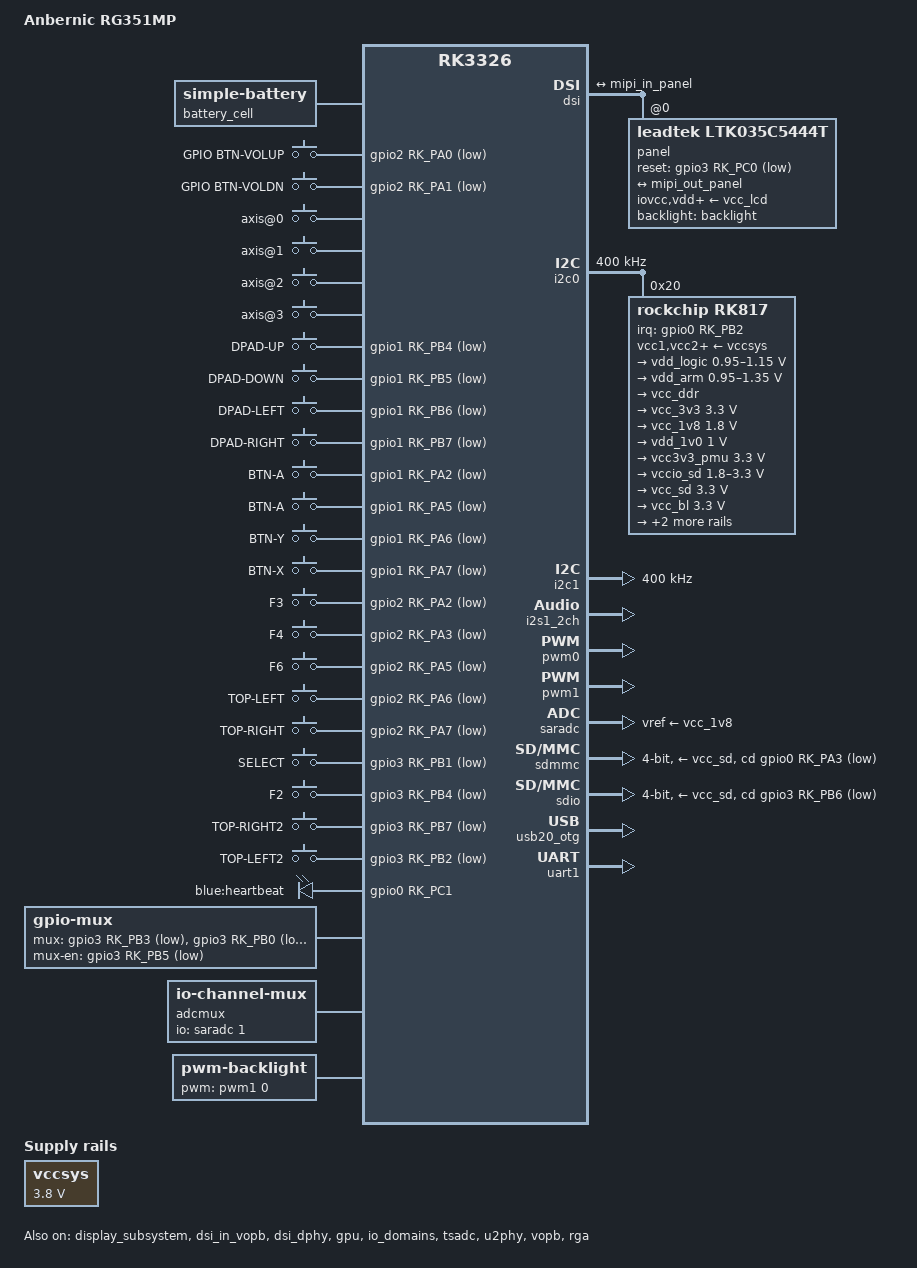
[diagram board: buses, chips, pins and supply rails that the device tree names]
// SPDX-License-Identifier: (GPL-2.0+ OR MIT)
/*
 * Copyright (c) 2020, Hardkernel Co., Ltd
 * Copyright (C) 2021, Romain Tisserand <romain.tisserand@gmail.com>
 * Copyright (C) 2021, Tony Jih <tonyjih@gmail.com>
 */

/dts-v1/;
#include <dt-bindings/gpio/gpio.h>
#include <dt-bindings/input/input.h>
#include <dt-bindings/pinctrl/rockchip.h>
#include "rockchip/rk3326.dtsi"

/ {
	model = "Anbernic RG351MP";
	compatible = "anbernic,rk3326-rg351-mp", "rockchip,rk3326";

	chosen {
                bootargs = "";
	};

	battery_cell: battery-cell {
		compatible = "simple-battery";
		energy-full-design-microamp-hours = <3000000>;
		voltage-min-design-microvolt = <3500000>;
		voltage-max-design-microvolt = <4100000>;

		ocv-capacity-celcius = <20>;
		ocv-capacity-table-0 =  <3500 0>, <3625 5>, <3685 10>, <3697 15>,
					<3718 20>, <3735 25>, <3748 30>, <3760 35>,
					<3774 40>, <3788 45>, <3802 50>, <3816 55>,
					<3834 60>, <3853 65>, <3877 70>, <3908 75>,
					<3946 80>, <3975 85>, <4018 90>, <4071 95>,
					<4106 100>;
	};
	
	utils {
			compatible = "gpio-keys";
			#address-cells = <1>;
			#size-cells = <0>;
			autorepeat;
			button@0 {
				label = "GPIO BTN-VOLUP";
				linux,code = <KEY_VOLUMEUP>;
				gpios = <&gpio2 RK_PA0 GPIO_ACTIVE_LOW>;
			};
			button@1 {
				label = "GPIO BTN-VOLDN";
				linux,code = <KEY_VOLUMEDOWN>;
				gpios = <&gpio2 RK_PA1 GPIO_ACTIVE_LOW>;
			};
	};


	joypad {
		compatible = "gpio-keys-adc";
		joypad-name = "RG351MP Gamepad";
		joypad-product = <0x1100>;
		joypad-revision = <0x0100>;

		pwms = <&pwm0 0 200000000 0>;		 
		pwm-names = "rumble_pwm";
		pinctrl-names = "default";
		pinctrl-0 = <&btn_pins>;
		pinctrl-1 = <&pwm0_pin>;
		io-channels = <&adcmux 0>, <&adcmux 1>, <&adcmux 2>, <&adcmux 3>;

		axis@0 {
			reg = <0>;
			abs-flat = <32>;
			abs-fuzz = <10>;
			abs-range = <800 180>;	//Inverted in RG351MP
			linux,code = <ABS_X>;
			analog;
		};

		axis@1 {
			reg = <1>;
			abs-flat = <32>;
			abs-fuzz = <10>;
			abs-range = <180 800>;
			linux,code = <ABS_RX>;
			analog;
		};

		axis@2 {
			reg = <2>;
			abs-flat = <32>;
			abs-fuss = <10>;
			abs-range = <800 180>;
			linux,code = <ABS_Y>;	//Inverted in RG351MP
			analog;
		};

		axis@3 {
			reg = <3>;
			abs-flat = <32>;
			abs-fuss = <10>;
			abs-range = <180 800>;
			linux,code = <ABS_RY>;
			analog;
		};


        /*
         *              *** RG351MP Switch layout ***              
         * |--|------------------------------------------------|--|
         * |  | L1 L2                                    R2 R1 |  |
         * |  |------------------------------------------------|  |
         * |v+|       select                           start   |pw|
         * |  |     sw1      |-------------------|      sw8    |  |
         * |v-|  sw3   sw4   |                   |   sw7   sw5 |  |
         * |  |     sw2      |    LCD Display    |      sw6    |  |
         * |  |              |                   |             |  |
         * |  |              |-------------------|             |  |
         * |  |  sw9                                     sw10  |  |
         * |  |------------------------------------------------|  |
         * |  |                 SD_INT  SD_EXT                 |  |
         * |--|------------------------------------------------|--|
         */

		sw1 {
			reg = <4>;
			gpios = <&gpio1 RK_PB4 GPIO_ACTIVE_LOW>;
			label = "DPAD-UP";
			linux,code = <BTN_DPAD_UP>; // 0x220
		};
		sw2 {
			reg = <5>;
			gpios = <&gpio1 RK_PB5 GPIO_ACTIVE_LOW>;
			label = "DPAD-DOWN";
			linux,code = <BTN_DPAD_DOWN>; // 0x221
		};
		sw3 {
			reg = <6>;
			gpios = <&gpio1 RK_PB6 GPIO_ACTIVE_LOW>;
			label = "DPAD-LEFT";
			linux,code = <BTN_DPAD_LEFT>; // 0x222
		};
		sw4 {
			reg = <7>;
			gpios = <&gpio1 RK_PB7 GPIO_ACTIVE_LOW>;
			label = "DPAD-RIGHT";
			linux,code = <BTN_DPAD_RIGHT>; // 0x223
		};
		sw5 {
			reg = <8>;
			gpios = <&gpio1 RK_PA2 GPIO_ACTIVE_LOW>;
			label = "BTN-A";
			linux,code = <BTN_EAST>; // 0x131
		};
		sw6 {
			reg = <9>;
			gpios = <&gpio1 RK_PA5 GPIO_ACTIVE_LOW>;
			label = "BTN-A";
			linux,code = <BTN_SOUTH>; // 0x130
		};
		sw7 {
			reg = <10>;
			gpios = <&gpio1 RK_PA6 GPIO_ACTIVE_LOW>;
			label = "BTN-Y";
			linux,code = <BTN_WEST>; // 0x134
		};
		sw8 {
			reg = <11>;
			gpios = <&gpio1 RK_PA7 GPIO_ACTIVE_LOW>;
			label = "BTN-X";
			linux,code = <BTN_NORTH>; // 0x133
		};
		sw9 {
			reg = <12>;
			gpios = <&gpio2 RK_PA2 GPIO_ACTIVE_LOW>;
			label = "F3";
			linux,code = <BTN_THUMBL>; // 0x2c3
		};
		sw10 {
			reg = <13>;
			gpios = <&gpio2 RK_PA3 GPIO_ACTIVE_LOW>;
			label = "F4";
			linux,code = <BTN_THUMBR>; // 0x2c4
		};
		sw11 { // UNUSED
			reg = <14>;
			gpios = <&gpio2 RK_PA5 GPIO_ACTIVE_LOW>;
			label = "F6";
			linux,code = <BTN_TRIGGER_HAPPY6>; // 0x13c
		};
		sw12 {
			reg = <15>;
			gpios = <&gpio2 RK_PA6 GPIO_ACTIVE_LOW>;
			label = "TOP-LEFT";
			linux,code = <BTN_TL>; // 0x02
		};
		sw13 {
			reg = <16>;
			gpios = <&gpio2 RK_PA7 GPIO_ACTIVE_LOW>;
			label = "TOP-RIGHT";
			linux,code = <BTN_TR>; // 0x05
		};
		sw14 {
			reg = <17>;
			gpios = <&gpio3 RK_PB1 GPIO_ACTIVE_LOW>;
			label = "SELECT";
			linux,code = <BTN_SELECT>;
		};
		sw15 {
			reg = <18>;
			gpios = <&gpio3 RK_PB4 GPIO_ACTIVE_LOW>;
			label = "F2";
			linux,code = <BTN_START>;
		};
		sw16 {
			reg = <19>;
			gpios = <&gpio3 RK_PB7 GPIO_ACTIVE_LOW>;
			label = "TOP-RIGHT2";
			linux,code = <BTN_TR2>;
		};
		sw17 {
			reg = <20>;
			gpios = <&gpio3 RK_PB2 GPIO_ACTIVE_LOW>;
			label = "TOP-LEFT2";
			linux,code = <BTN_TL2>;
		};
	};

	fiq-debugger {
		compatible = "rockchip,fiq-debugger";
		rockchip,serial-id = <2>;
		rockchip,wake-irq = <0>;
		/* If enable uart uses irq instead of fiq */
		rockchip,irq-mode-enable = <0>;
		rockchip,baudrate = <115200>;  /* Only 115200 and 1500000 */
		interrupts = <GIC_SPI 127 IRQ_TYPE_LEVEL_LOW>;
		pinctrl-names = "default";
		pinctrl-0 = <&uart2m1_xfer>;
		status = "okay";
	};

	leds: gpio_leds {
		compatible = "gpio-leds";

		pinctrl-names = "led_pins";
		pinctrl-0 = <&led_pins>;

		/* Blue LED : GPIO0_C1 */
		heartbeat {
			label = "blue:heartbeat";
			gpios = <&gpio0 RK_PC1 GPIO_ACTIVE_HIGH>;
			linux,default-trigger = "heartbeat";
		};
	};

	mux: mux-controller {
		status = "okay";
		compatible = "gpio-mux";
		#mux-control-cells = <0>;

		mux-gpios = <&gpio3 RK_PB3 GPIO_ACTIVE_LOW>,
					<&gpio3 RK_PB0 GPIO_ACTIVE_LOW>;
		mux-en-gpio = <&gpio3 RK_PB5 GPIO_ACTIVE_LOW>;
	};

	adcmux: adc-mux {
		status = "okay";
		compatible = "io-channel-mux";
		io-channels = <&saradc 1>;
		io-channel-names = "parent";
		#io-channel-cells = <1>;

		mux-controls = <&mux>;

		channels = "0", "1", "2", "3";
	};

	backlight: backlight {
		compatible = "pwm-backlight";
		pwms = <&pwm1 0 40000 0>;
		brightness-levels = <
			  0   1   2   3   4   5   6   7
			  8   9  10  11  12  13  14  15
			 16  17  18  19  20  21  22  23
			 24  25  26  27  28  29  30  31
			 32  33  34  35  36  37  38  39
			 40  41  42  43  44  45  46  47
			 48  49  50  51  52  53  54  55
			 56  57  58  59  60  61  62  63
			 64  65  66  67  68  69  70  71
			 72  73  74  75  76  77  78  79
			 80  81  82  83  84  85  86  87
			 88  89  90  91  92  93  94  95
			 96  97  98  99 100 101 102 103
			104 105 106 107 108 109 110 111
			112 113 114 115 116 117 118 119
			120 121 122 123 124 125 126 127
			128 129 130 131 132 133 134 135
			136 137 138 139 140 141 142 143
			144 145 146 147 148 149 150 151
			152 153 154 155 156 157 158 159
			160 >;
		default-brightness-level = <80>; /* default 50% */
	};

	vccsys: vccsys {
		compatible = "regulator-fixed";
		regulator-name = "vcc3v8_sys";
		regulator-always-on;
		regulator-min-microvolt = <3800000>;
		regulator-max-microvolt = <3800000>;
	};

	rk817-sound {
			compatible = "simple-audio-card";
			simple-audio-card,name = "Analog";
			simple-audio-card,format = "i2s";
			simple-audio-card,mclk-fs = <256>;
			simple-audio-card,widgets =
					"Microphone", "Mic Jack",
					"Headphone", "Headphones";
			simple-audio-card,routing =
					"MICL", "Mic Jack",
					"Headphones", "HPOL",
					"Headphones", "HPOR";
			simple-audio-card,cpu {
					sound-dai = <&i2s1_2ch>;
			};

			simple-audio-card,codec {
					sound-dai = <&rk817>;
			};
	};

};

&cpu0 {
	cpu-supply = <&vdd_arm>;
};

&cpu1 {
	cpu-supply = <&vdd_arm>;
};

&cpu2 {
	cpu-supply = <&vdd_arm>;
};

&cpu3 {
	cpu-supply = <&vdd_arm>;
};

&cpu0_opp_table {
	rockchip,avs = <1>;

	/* bin scaling clock 1.296MHz */
	rockchip,bin-scaling-sel = <
		0               13
		1               13
	>;

	/delete-node/ opp-408000000;
	/delete-node/ opp-600000000;
	/delete-node/ opp-816000000;
	/delete-node/ opp-1416000000;
};

&display_subsystem {
	status = "okay";
};

&dsi {
	status = "okay";

	ports {
		mipi_out: port@1 {
			reg = <1>;

			mipi_out_panel: endpoint {
				remote-endpoint = <&mipi_in_panel>;
			};
		};
	};

	panel@0 {
		compatible = "leadtek,ltk035c5444t";
		reg = <0>;
		backlight = <&backlight>;
		iovcc-supply = <&vcc_lcd>;
		reset-gpios = <&gpio3 RK_PC0 GPIO_ACTIVE_LOW>;
		vdd-supply = <&vcc_lcd>;
		power-supply = <&vcc_lcd>;
		rotation = <0>;

		width-mm = <70>;
		height-mm = <52>;

		port {
			mipi_in_panel: endpoint {
				remote-endpoint = <&mipi_out_panel>;
			};
		};
	};
};

&dsi_in_vopb {
	status = "okay";
};

&dsi_dphy {
	status = "okay";
};

/* TODO 5.15
&dmc {
	center-supply = <&vdd_logic>;
	status = "okay";
};

&dmc_opp_table {
	/delete-node/ opp-194000000;
	/delete-node/ opp-328000000;
	/delete-node/ opp-450000000;

	opp-786000000 {
		status = "okay";
	};
};
*/

&gpu_opp_table {
	/delete-node/ opp-200000000;
	/delete-node/ opp-300000000;
};

&emmc {
	status = "disabled";
};


&gpu {
	mali-supply = <&vdd_logic>;
	status = "okay";
};

&i2c0 {
	clock-frequency = <400000>;
	i2c-scl-falling-time-ns = <16>;
	i2c-scl-rising-time-ns = <280>;
	status = "okay";

	rk817: pmic@20 {
		compatible = "rockchip,rk817";
		reg = <0x20>;
		interrupt-parent = <&gpio0>;
		interrupts = <RK_PB2 IRQ_TYPE_LEVEL_LOW>;
		clock-output-names = "rk808-clkout1", "xin32k";
		clock-names = "mclk";
		clocks = <&cru SCLK_I2S1_OUT>;
		pinctrl-names = "default";
		pinctrl-0 = <&pmic_int>, <&i2s1_2ch_mclk>;
		rockchip,system-power-controller;
		wakeup-source;
		#clock-cells = <1>;
		#sound-dai-cells = <0>;

		vcc1-supply = <&vccsys>;
		vcc2-supply = <&vccsys>;
		vcc3-supply = <&vccsys>;
		vcc4-supply = <&vccsys>;
		vcc5-supply = <&vccsys>;
		vcc6-supply = <&vccsys>;
		vcc7-supply = <&vccsys>;

                rk817_battery: battery {
                        compatible = "rk817,battery";
                        monitored-battery = <&battery_cell>;
                        bat_res = <180>;
                        sample_res = <10>;
                };

		regulators {
			vdd_logic: DCDC_REG1 {
				regulator-name = "vdd_logic";
				regulator-min-microvolt = <950000>;
				regulator-max-microvolt = <1150000>;
				regulator-ramp-delay = <6001>;
				regulator-always-on;
				regulator-boot-on;

				regulator-state-mem {
					regulator-on-in-suspend;
					regulator-suspend-microvolt = <950000>;
				};
			};

			vdd_arm: DCDC_REG2 {
				regulator-name = "vdd_arm";
				regulator-min-microvolt = <950000>;
				regulator-max-microvolt = <1350000>;
				regulator-ramp-delay = <6001>;
				regulator-always-on;
				regulator-boot-on;

				regulator-state-mem {
					regulator-off-in-suspend;
					regulator-suspend-microvolt = <950000>;
				};
			};

			vcc_ddr: DCDC_REG3 {
				regulator-name = "vcc_ddr";
				regulator-always-on;
				regulator-boot-on;

				regulator-state-mem {
					regulator-on-in-suspend;
				};
			};

			vcc_3v3: DCDC_REG4 {
				regulator-name = "vcc_3v3";
				regulator-min-microvolt = <3300000>;
				regulator-max-microvolt = <3300000>;
				regulator-always-on;
				regulator-boot-on;

				regulator-state-mem {
					regulator-off-in-suspend;
					regulator-suspend-microvolt = <3300000>;
				};
			};

			vcc_1v8: LDO_REG2 {
				regulator-name = "vcc_1v8";
				regulator-min-microvolt = <1800000>;
				regulator-max-microvolt = <1800000>;
				regulator-always-on;
				regulator-boot-on;

				regulator-state-mem {
					regulator-on-in-suspend;
					regulator-suspend-microvolt = <1800000>;
				};
			};

			vdd_1v0: LDO_REG3 {
				regulator-name = "vdd_1v0";
				regulator-min-microvolt = <1000000>;
				regulator-max-microvolt = <1000000>;
				regulator-always-on;
				regulator-boot-on;

				regulator-state-mem {
					regulator-on-in-suspend;
					regulator-suspend-microvolt = <1000000>;
				};
			};

			vcc3v3_pmu: LDO_REG4 {
				regulator-name = "vcc3v3_pmu";
				regulator-min-microvolt = <3300000>;
				regulator-max-microvolt = <3300000>;
				regulator-always-on;
				regulator-boot-on;

				regulator-state-mem {
					regulator-on-in-suspend;
					regulator-suspend-microvolt = <3300000>;
				};
			};

			vccio_sd: LDO_REG5 {
				regulator-name = "vccio_sd";
				regulator-min-microvolt = <1800000>;
				regulator-max-microvolt = <3300000>;
				regulator-always-on;
				regulator-boot-on;

				regulator-state-mem {
					regulator-on-in-suspend;
					regulator-suspend-microvolt = <3300000>;
				};
			};

			vcc_sd: LDO_REG6 {
				regulator-name = "vcc_sd";
				regulator-min-microvolt = <3300000>;
				regulator-max-microvolt = <3300000>;
				regulator-boot-on;

				regulator-state-mem {
					regulator-on-in-suspend;
					regulator-suspend-microvolt = <3300000>;
				};
			};

			vcc_bl: LDO_REG7 {
				regulator-name = "vcc_bl";
				regulator-min-microvolt = <3300000>;
				regulator-max-microvolt = <3300000>;

				regulator-state-mem {
					regulator-off-in-suspend;
					regulator-suspend-microvolt = <3300000>;
				};
			};

			vcc_lcd: LDO_REG8 {
				regulator-name = "vcc_lcd";
				regulator-min-microvolt = <2800000>;
				regulator-max-microvolt = <2800000>;

				regulator-state-mem {
					regulator-off-in-suspend;
					regulator-suspend-microvolt = <2800000>;
				};
			};

			vcc_cam: LDO_REG9 {
				regulator-name = "vcc_cam";
				regulator-min-microvolt = <3000000>;
				regulator-max-microvolt = <3000000>;

				regulator-state-mem {
					regulator-off-in-suspend;
					regulator-suspend-microvolt = <3000000>;
				};
			};
		};

		rk817_codec: codec {
			rockchip,mic-in-differential;
		};
	};
};

/* EXT Header(P2) : 7(SCL:GPIO0.C2), 8(SDA:GPIO0.C3) */
&i2c1 {
	status = "okay";
	clock-frequency = <400000>;
};

/* MIPI CSI I2C */
&i2c2 {
	status = "disabled";
};

/* I2S 1 Channel Used */
&i2s1_2ch {
	status = "okay";
};

&io_domains {
	/* GRF Register Voltage select control */
	status = "okay";

	/* SDIO I/O Voltage */
	vccio1-supply = <&vccio_sd>;
	/* SDMMC I/O Voltage */
	vccio2-supply = <&vccio_sd>;
	/* CAM I/O Voltage */
	vccio3-supply = <&vcc_3v3>;
	/* LVDS/LCDC I/O Voltage */
	vccio4-supply = <&vcc_3v3>;
	/* I2S I/O Voltage */
	vccio5-supply = <&vcc_3v3>;
	/* eMMC I/O Voltage */
	vccio6-supply = <&vcc_3v3>;
};

&spi0 {
	status = "disabled";
};

&pmu_io_domains {
	/* PMU GRF Register Voltage select control */
	status = "okay";

	/* PMU I/O Voltage */
	pmuio1-supply = <&vcc3v3_pmu>;
	/* GPIO0_B/GPIO0_C, Flash */
	pmuio2-supply = <&vcc3v3_pmu>;
};

/* Rumble PWM */
&pwm0 {
	status = "okay";
};

/* LCD Backlight PWM */
&pwm1 {
	status = "okay";
};

&saradc {
	vref-supply = <&vcc_1v8>;
	status = "okay";
};

&sdmmc {
	bus-width = <4>;
	cap-mmc-highspeed;
	cap-sd-highspeed;
	supports-sd;
	card-detect-delay = <800>;
	ignore-pm-notify;
	cd-gpios = <&gpio0 RK_PA3 GPIO_ACTIVE_LOW>; /*[> CD GPIO <]*/
	sd-uhs-sdr12;
	sd-uhs-sdr25;
	sd-uhs-sdr50;
	sd-uhs-sdr104;
	vqmmc-supply = <&vccio_sd>;
	vmmc-supply = <&vcc_sd>;
	status = "okay";
};

&sdio {
	bus-width = <4>;
	cap-mmc-highspeed;
	cap-sd-highspeed;
	supports-sd;
	card-detect-delay = <800>;
	ignore-pm-notify;
	cd-gpios = <&gpio3 RK_PB6 GPIO_ACTIVE_LOW>; /*[> CD GPIO <]*/
	sd-uhs-sdr12;
	sd-uhs-sdr25;
	sd-uhs-sdr50;
	sd-uhs-sdr104;
	vqmmc-supply = <&vccio_sd>;
	vmmc-supply = <&vcc_sd>;
	status = "okay";
};

&tsadc {
	status = "okay";
};

&u2phy {
	status = "okay";

	u2phy_host: host-port {
		status = "okay";
	};

	u2phy_otg: otg-port {
		status = "disabled";
	};
};

&usb20_otg {
	status = "okay";
};

/*
	EXT Header(P2) UART :
	2(RXD:GPIO1.C0),3(TXD:GPIO1.C1),4(CTS:GPIO1.C2),5(RTS:GPIO1.C3)
*/
&uart1 {
	pinctrl-names = "default";
	pinctrl-0 = <&uart1_xfer &uart1_cts>;
	status = "okay";
};

&vopb {
	status = "okay";
};

&vopb_mmu {
	status = "okay";
};

&rga {
	status = "okay";
};

&pinctrl {
	btns {
		btn_pins: btn-pins {
			rockchip,pins = <1 RK_PB4 RK_FUNC_GPIO &pcfg_pull_up>,
					<1 RK_PB5 RK_FUNC_GPIO &pcfg_pull_up>,
					<1 RK_PB6 RK_FUNC_GPIO &pcfg_pull_up>,
					<1 RK_PB7 RK_FUNC_GPIO &pcfg_pull_up>,
					<1 RK_PA2 RK_FUNC_GPIO &pcfg_pull_up>,
					<1 RK_PA5 RK_FUNC_GPIO &pcfg_pull_up>,
					<1 RK_PA6 RK_FUNC_GPIO &pcfg_pull_up>,
					<1 RK_PA7 RK_FUNC_GPIO &pcfg_pull_up>,

					<2 RK_PA0 RK_FUNC_GPIO &pcfg_pull_up>,
					<2 RK_PA1 RK_FUNC_GPIO &pcfg_pull_up>,
					<2 RK_PA2 RK_FUNC_GPIO &pcfg_pull_up>,
					<2 RK_PA3 RK_FUNC_GPIO &pcfg_pull_up>,
					<2 RK_PA4 RK_FUNC_GPIO &pcfg_pull_up>,
					<2 RK_PA5 RK_FUNC_GPIO &pcfg_pull_up>,
					<2 RK_PA6 RK_FUNC_GPIO &pcfg_pull_up>,
					<2 RK_PA7 RK_FUNC_GPIO &pcfg_pull_up>,
					<3 RK_PB1 RK_FUNC_GPIO &pcfg_pull_up>,
					<3 RK_PB2 RK_FUNC_GPIO &pcfg_pull_up>,
					<3 RK_PB4 RK_FUNC_GPIO &pcfg_pull_up>,
					<3 RK_PB7 RK_FUNC_GPIO &pcfg_pull_up>;
		};
	};
	leds {
		led_pins: led-pins {
			rockchip,pins = <0 RK_PC1 RK_FUNC_GPIO &pcfg_pull_none>;
		};
	};
	pmic {
		/* ODROID-GO2 : PMIC_INT(GPIO0.PB2) */
		pmic_int: pmic_int {
			rockchip,pins =
				<0 RK_PB2 RK_FUNC_GPIO &pcfg_pull_up>,
				<0 RK_PB3 RK_FUNC_GPIO &pcfg_pull_none>;
		};

		/* ODROID-GO2 : PMIC_SLEEP(GPIO0.PA4) */
		soc_slppin_gpio: soc_slppin_gpio {
			rockchip,pins =
				<0 RK_PA4 RK_FUNC_GPIO &pcfg_output_low>;
		};

		soc_slppin_slp: soc_slppin_slp {
			rockchip,pins =
				<0 RK_PA4 1 &pcfg_pull_none>;
		};

		soc_slppin_rst: soc_slppin_rst {
			rockchip,pins =
				<0 RK_PA4 2 &pcfg_pull_none>;
		};
	};
};

/* DON'T PUT ANYTHING BELOW HERE.  PUT IT ABOVE PINCTRL */
/* DON'T PUT ANYTHING BELOW HERE.  PUT IT ABOVE PINCTRL */
/* DON'T PUT ANYTHING BELOW HERE.  PUT IT ABOVE PINCTRL */
